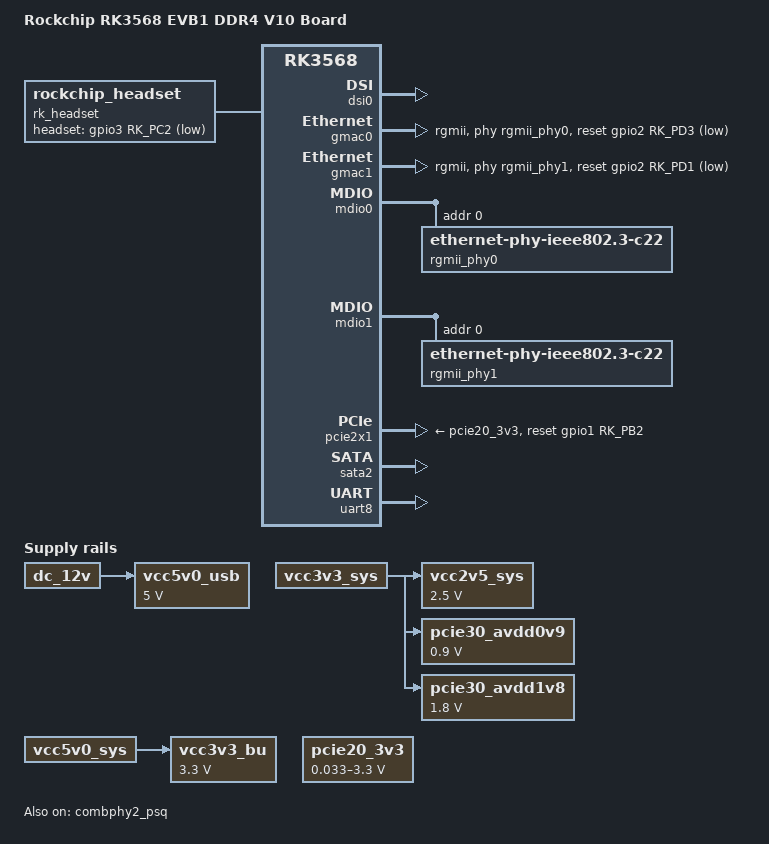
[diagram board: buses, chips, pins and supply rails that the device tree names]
// SPDX-License-Identifier: (GPL-2.0+ OR MIT)
/*
 * Copyright (c) 2020 Rockchip Electronics Co., Ltd.
 *
 */

/dts-v1/;

#include <dt-bindings/gpio/gpio.h>
#include <dt-bindings/pinctrl/rockchip.h>
#include "rk3568-evb.dtsi"
#include "rk3568-android.dtsi"

/ {
	model = "Rockchip RK3568 EVB1 DDR4 V10 Board";
	compatible = "rockchip,rk3568-ev1-ddr4-v10", "rockchip,rk3568";

	rk_headset: rk-headset {
		compatible = "rockchip_headset";
		headset_gpio = <&gpio3 RK_PC2 GPIO_ACTIVE_LOW>;
		pinctrl-names = "default";
		pinctrl-0 = <&hp_det>;
	};

	vcc5v0_usb: vcc5v0-usb {
		compatible = "regulator-fixed";
		regulator-name = "vcc5v0_usb";
		regulator-always-on;
		regulator-boot-on;
		regulator-min-microvolt = <5000000>;
		regulator-max-microvolt = <5000000>;
		vin-supply = <&dc_12v>;
	};

	vcc2v5_sys: vcc2v5-ddr {
		compatible = "regulator-fixed";
		regulator-name = "vcc2v5-sys";
		regulator-always-on;
		regulator-boot-on;
		regulator-min-microvolt = <2500000>;
		regulator-max-microvolt = <2500000>;
		vin-supply = <&vcc3v3_sys>;
	};

	pcie20_3v3: gpio-regulator {
		compatible = "regulator-gpio";
		regulator-name = "pcie20_3v3";
		regulator-min-microvolt = <0100000>;
		regulator-max-microvolt = <3300000>;
		gpios = <&gpio0 RK_PB7 GPIO_ACTIVE_HIGH>;
		gpios-states = <0x1>;
		states = <0100000 0x0
			  3300000 0x1>;
	};

	pcie30_avdd0v9: pcie30-avdd0v9 {
		compatible = "regulator-fixed";
		regulator-name = "pcie30_avdd0v9";
		regulator-always-on;
		regulator-boot-on;
		regulator-min-microvolt = <900000>;
		regulator-max-microvolt = <900000>;
		vin-supply = <&vcc3v3_sys>;
	};

	pcie30_avdd1v8: pcie30-avdd1v8 {
		compatible = "regulator-fixed";
		regulator-name = "pcie30_avdd1v8";
		regulator-always-on;
		regulator-boot-on;
		regulator-min-microvolt = <1800000>;
		regulator-max-microvolt = <1800000>;
		vin-supply = <&vcc3v3_sys>;
	};

	vcc3v3_bu: vcc3v3-bu {
		compatible = "regulator-fixed";
		regulator-name = "vcc3v3_bu";
		regulator-always-on;
		regulator-boot-on;
		regulator-min-microvolt = <3300000>;
		regulator-max-microvolt = <3300000>;
		vin-supply = <&vcc5v0_sys>;
	};
};

&combphy2_psq {
	status = "okay";
};

&dsi0 {
	status = "okay";
};

&dsi0_panel {
	power-supply = <&vcc3v3_lcd0_n>;
};

&dsi1 {
	status = "disabled";
};

&dsi1_panel {
	power-supply = <&vcc3v3_lcd1_n>;
};

&gmac0 {
	phy-mode = "rgmii";
	clock_in_out = "output";

	snps,reset-gpio = <&gpio2 RK_PD3 GPIO_ACTIVE_LOW>;
	snps,reset-active-low;
	/* Reset time is 20ms, 100ms for rtl8211f */
	snps,reset-delays-us = <0 20000 100000>;

	assigned-clocks = <&cru SCLK_GMAC0_RX_TX>, <&cru SCLK_GMAC0>;
	assigned-clock-parents = <&cru SCLK_GMAC0_RGMII_SPEED>;
	assigned-clock-rates = <0>, <125000000>;

	pinctrl-names = "default";
	pinctrl-0 = <&gmac0_miim_pins &gmac0_rgmii_pins>;

	tx_delay = <0x2a>;
	rx_delay = <0x1a>;

	phy-handle = <&rgmii_phy0>;
	status = "okay";
};

&gmac1 {
	phy-mode = "rgmii";
	clock_in_out = "output";

	snps,reset-gpio = <&gpio2 RK_PD1 GPIO_ACTIVE_LOW>;
	snps,reset-active-low;
	/* Reset time is 20ms, 100ms for rtl8211f */
	snps,reset-delays-us = <0 20000 100000>;

	assigned-clocks = <&cru SCLK_GMAC1_RX_TX>, <&cru SCLK_GMAC1>;
	assigned-clock-parents = <&cru SCLK_GMAC1_RGMII_SPEED>;
	assigned-clock-rates = <0>, <125000000>;

	pinctrl-names = "default";
	pinctrl-0 = <&gmac1m1_miim_pins &gmac1m1_rgmii_pins>;

	tx_delay = <0x2a>;
	rx_delay = <0x1a>;

	phy-handle = <&rgmii_phy1>;
	status = "okay";
};

/*
 * power-supply should switche to vcc3v3_lcd1_n
 * when mipi panel is connected to dsi1.
 */
&gt1x {
	power-supply = <&vcc3v3_lcd0_n>;
};

&mdio0 {
	rgmii_phy0: phy@0 {
		compatible = "ethernet-phy-ieee802.3-c22";
		reg = <0x0>;
	};
};

&mdio1 {
	rgmii_phy1: phy@0 {
		compatible = "ethernet-phy-ieee802.3-c22";
		reg = <0x0>;
	};
};

&pcie2x1 {
	reset-gpios = <&gpio1 RK_PB2 GPIO_ACTIVE_HIGH>;
	vpcie3v3-supply = <&pcie20_3v3>;
	status = "okay";
};

&pinctrl {
	headphone {
		hp_det: hp-det {
			rockchip,pins = <3 RK_PC2 RK_FUNC_GPIO &pcfg_pull_down>;
		};
	};
};

&sata2 {
	status = "okay";
};

&uart8 {
	status = "okay";
};

&vcc3v3_lcd0_n {
	gpio = <&gpio0 RK_PC7 GPIO_ACTIVE_HIGH>;
	enable-active-high;
};

&vcc3v3_lcd1_n {
	gpio = <&gpio0 RK_PC5 GPIO_ACTIVE_HIGH>;
	enable-active-high;
};
